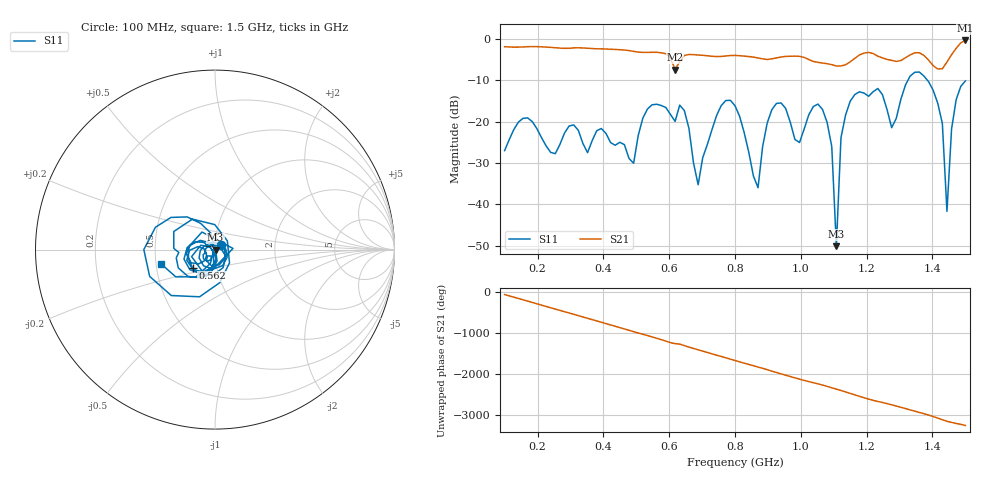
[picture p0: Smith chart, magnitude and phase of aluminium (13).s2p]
! NanoVNA-App
! Date: 2025-09-25 14:55:22
! Start: 100MHz Stop: 1,5GHz Points: 101
! S-Parameter data: F S11 S21 S12 S22
# Hz S RI R 50
!  Frequency  S11_Real  S11_Imag  S21_Real  S21_Imag  S12_Real  S12_Imag  S22_Real  S22_Imag
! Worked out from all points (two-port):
!   101 points, 100 MHz to 1.5 GHz, reference 50 ohm
!   highest |S21| = -0.42 dB at 1.5 GHz (marker M1); lowest = -7.4 dB at 618 MHz (marker M2)
!   |S21| within 3 dB of the highest: start of sweep to 577 MHz; 1.462 GHz to end of sweep (the widest 2 of 4)
!   lowest |S11| = -50.1 dB at 1.108 GHz (marker M3), VSWR 1.01, Z = 50.3 + j0.0189 ohm
!   |S11| at or under -10 dB: start of sweep to 1.326 GHz; 1.384 GHz to end of sweep
!   S12 and S22 are empty: the file has one direction only
!   S11 on the Smith chart (normalised r, x): 100 MHz: 1.07, +0.06; 562 MHz: 0.76, -0.16; 1.5 GHz: 0.53, -0.10
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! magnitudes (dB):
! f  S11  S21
! 100 MHz  -27.0  -1.9
! 338 MHz  -25.3  -2.2
! 492 MHz  -30.1  -3.0
! 562 MHz  -15.8  -3.3
! 576 MHz  -16.1  -3.4
! 618 MHz  -20.0  -7.4
! 646 MHz  -17.3  -4.0
! 688 MHz  -35.3  -3.9
! 800 MHz  -16.2  -4.0
! 870 MHz  -36.0  -4.6
! 912 MHz  -17.1  -4.9
! 1.038 GHz  -16.4  -5.5
! 1.094 GHz  -26.0  -6.3
! 1.108 GHz  -50.1  -6.6
! 1.122 GHz  -23.9  -6.6
! 1.15 GHz  -15.1  -5.6
! 1.276 GHz  -21.5  -5.2
! 1.388 GHz  -10.3  -5.1
! 1.43 GHz  -20.5  -7.3
! 1.444 GHz  -41.7  -5.6
! 1.458 GHz  -21.8  -3.9
! 1.5 GHz  -10.2  -0.4
